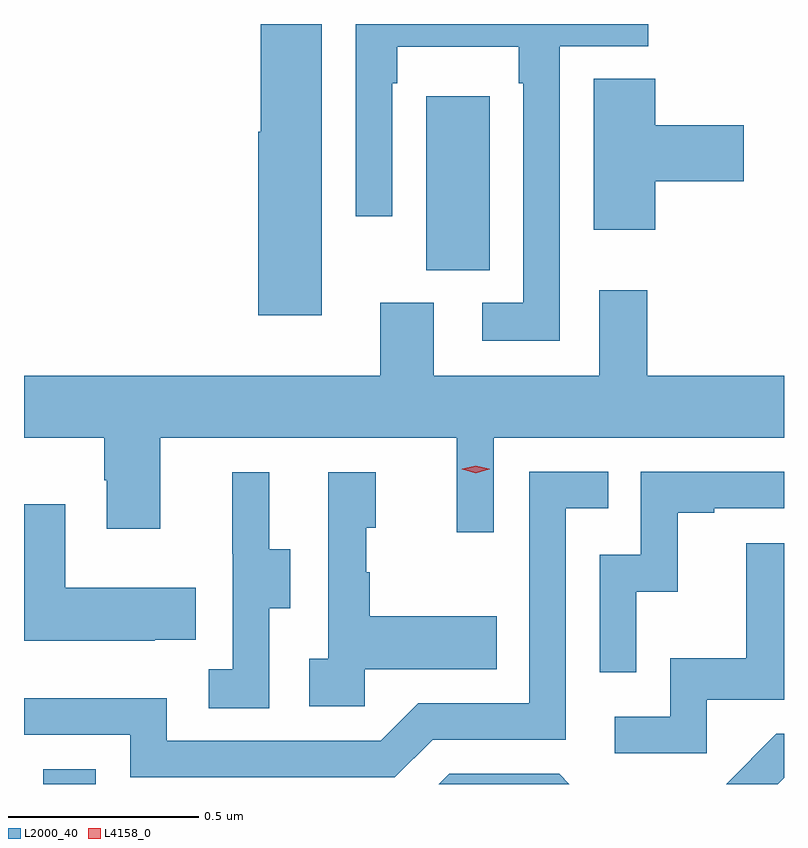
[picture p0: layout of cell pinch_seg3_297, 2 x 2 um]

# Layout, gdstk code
import gdstk
lib = gdstk.Library(unit=1e-6, precision=1e-09)
def R(c, l, rs):  # rectangles x0, y0, x1, y1
    for r in rs: c.add(gdstk.rectangle(r[:2], r[2:], *l))
def P(c, l, *ps):  # polygons
    for p in ps: c.add(gdstk.Polygon(p, *l))
L2000_40 = (2000, 40)
L4158_0 = (4158, 0)

pinch_seg3_297 = lib.new_cell('pinch_seg3_297')
R(pinch_seg3_297, L2000_40, [(1013.483,725.313,1013.622,725.352), (1014.491,726.665,1014.658,727.123)])
P(pinch_seg3_297, L2000_40, [(1014.217,727.313),(1014.056,727.313),(1014.056,727.029),(1014.05,727.029),(1014.05,726.546),(1014.217,726.546)],
  [(1014.843,727.254),(1015.076,727.254),(1015.076,727.313),(1014.306,727.313),(1014.306,726.807),(1014.402,726.807),(1014.402,727.157),(1014.415,727.157),(1014.415,727.253),(1014.735,727.253),(1014.735,727.157),(1014.747,727.157),(1014.747,726.58),(1014.639,726.58),(1014.639,726.479),(1014.843,726.479)],
  [(1015.094,726.899),(1015.327,726.899),(1015.327,727.046),(1015.094,727.046),(1015.094,727.169),(1014.932,727.169),(1014.932,726.771),(1015.094,726.771)],
  [(1014.669,726.224),(1015.433,726.224),(1015.433,726.388),(1015.073,726.388),(1015.073,726.613),(1014.947,726.613),(1014.947,726.388),(1014.511,726.388),(1014.511,726.58),(1014.371,726.58),(1014.371,726.388),(1013.433,726.388),(1013.433,726.224),(1013.644,726.224),(1013.644,726.113),(1013.651,726.113),(1013.651,725.985),(1013.791,725.985),(1013.791,726.224),(1014.572,726.224),(1014.572,725.976),(1014.669,725.976)],
  [(1015.044,725.819),(1015.154,725.819),(1015.154,726.027),(1015.249,726.027),(1015.249,726.039),(1015.433,726.039),(1015.433,726.135),(1015.056,726.135),(1015.056,725.916),(1014.948,725.916),(1014.948,725.607),(1015.044,725.607)],
  [(1014.508,725.43),(1014.858,725.43),(1014.858,726.039),(1014.971,726.039),(1014.971,726.135),(1014.762,726.135),(1014.762,725.526),(1014.471,725.526),(1014.372,725.427),(1013.808,725.427),(1013.808,725.539),(1013.433,725.539),(1013.433,725.442),(1013.712,725.442),(1013.712,725.331),(1014.409,725.331)],
  [(1014.33,725.615),(1014.677,725.615),(1014.677,725.755),(1014.343,725.755),(1014.343,725.87),(1014.333,725.87),(1014.333,725.988),(1014.358,725.988),(1014.358,726.133),(1014.234,726.133),(1014.234,725.642),(1014.183,725.642),(1014.183,725.517),(1014.33,725.517)],
  [(1014.078,725.776),(1014.133,725.776),(1014.133,725.931),(1014.079,725.931),(1014.079,726.133),(1013.981,726.133),(1013.981,725.919),(1013.982,725.919),(1013.982,725.615),(1013.919,725.615),(1013.919,725.512),(1014.078,725.512)],
  [(1013.777,725.693),(1013.885,725.693),(1013.885,725.83),(1013.542,725.83),(1013.542,726.049),(1013.433,726.049),(1013.433,725.69),(1013.777,725.69)],
  [(1015.23,725.535),(1015.433,725.535),(1015.433,725.947),(1015.333,725.947),(1015.333,725.644),(1015.134,725.644),(1015.134,725.49),(1014.987,725.49),(1014.987,725.394),(1015.23,725.394)],
  [(1015.433,725.33),(1015.433,725.445),(1015.413,725.445),(1015.281,725.313),(1015.416,725.313)],
  [(1014.841,725.34),(1014.552,725.34),(1014.525,725.313),(1014.868,725.313)])
P(pinch_seg3_297, L4158_0, [(1014.622,726.131),(1014.586,726.141),(1014.585,726.141),(1014.586,726.142),(1014.622,726.151),(1014.657,726.142),(1014.658,726.141),(1014.657,726.141)])

lib.write_gds('pinch_seg3_297.gds')
